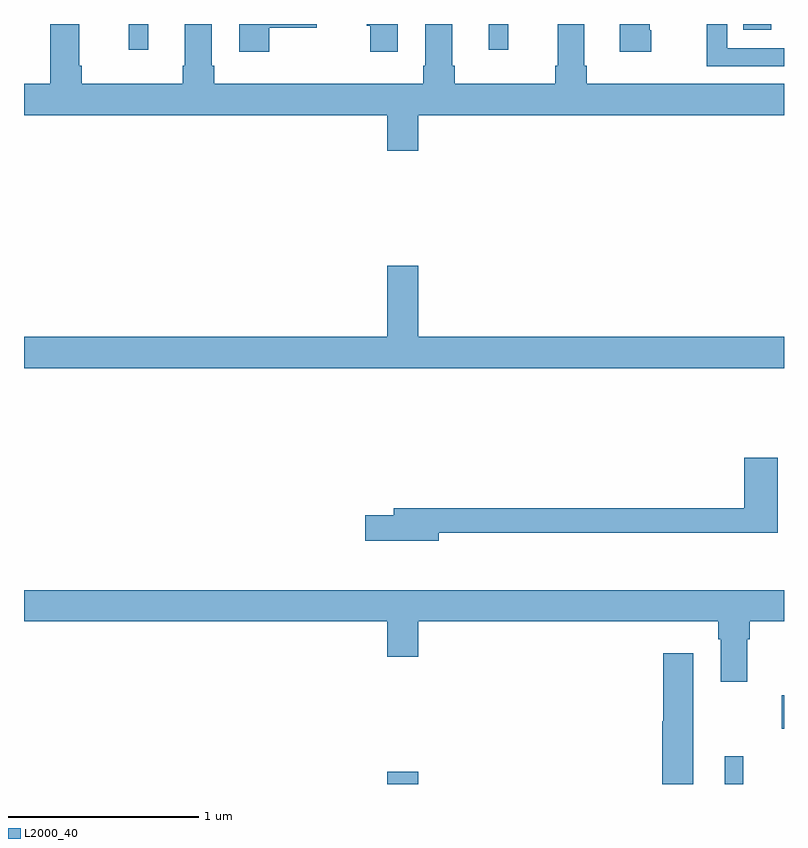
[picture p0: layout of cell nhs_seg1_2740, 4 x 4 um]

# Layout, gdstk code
import gdstk
lib = gdstk.Library(unit=1e-6, precision=1e-09)
def R(c, l, rs):  # rectangles x0, y0, x1, y1
    for r in rs: c.add(gdstk.rectangle(r[:2], r[2:], *l))
def P(c, l, *ps):  # polygons
    for p in ps: c.add(gdstk.Polygon(p, *l))
L2000_40 = (2000, 40)

nhs_seg1_2740 = lib.new_cell('nhs_seg1_2740')
R(nhs_seg1_2740, L2000_40, [(260.912,560.199,261.076,560.263), (262.688,560.199,262.785,560.344), (262.989,560.491,263,560.665), (259.552,564.063,259.654,564.199), (261.446,564.063,261.548,564.199), (262.786,564.168,262.932,564.199)])
P(nhs_seg1_2740, L2000_40, [(261.076,563.72),(263,563.72),(263,563.884),(261.962,563.884),(261.962,563.98),(261.949,563.98),(261.949,564.199),(261.809,564.199),(261.809,563.98),(261.797,563.98),(261.797,563.884),(261.266,563.884),(261.266,563.98),(261.253,563.98),(261.253,564.199),(261.113,564.199),(261.113,563.98),(261.101,563.98),(261.101,563.884),(260,563.884),(260,563.98),(259.987,563.98),(259.987,564.199),(259.847,564.199),(259.847,563.98),(259.835,563.98),(259.835,563.884),(259.304,563.884),(259.304,563.98),(259.291,563.98),(259.291,564.199),(259.139,564.199),(259.139,563.884),(259,563.884),(259,563.72),(260.912,563.72),(260.912,563.532),(261.076,563.532)],
  [(260.291,564.178),(260.542,564.178),(260.542,564.199),(260.132,564.199),(260.132,564.054),(260.291,564.054)],
  [(260.968,564.199),(260.804,564.199),(260.804,564.189),(260.822,564.189),(260.822,564.054),(260.968,564.054)],
  [(263,564.072),(262.701,564.072),(262.701,564.199),(262.593,564.199),(262.593,563.976),(263,563.976)],
  [(262.302,564.166),(262.294,564.166),(262.294,564.199),(262.136,564.199),(262.136,564.054),(262.302,564.054)],
  [(263,562.552),(261.076,562.552),(261.076,562.927),(260.912,562.927),(260.912,562.552),(259,562.552),(259,562.388),(263,562.388)],
  [(261.184,561.522),(262.968,561.522),(262.968,561.916),(262.79,561.916),(262.79,561.65),(260.945,561.65),(260.945,561.614),(260.796,561.614),(260.796,561.479),(261.184,561.479)],
  [(262.807,560.96),(262.82,560.96),(262.82,561.056),(263,561.056),(263,561.22),(259,561.22),(259,561.056),(260.912,561.056),(260.912,560.868),(261.076,560.868),(261.076,561.056),(262.655,561.056),(262.655,560.96),(262.667,560.96),(262.667,560.736),(262.807,560.736)],
  [(262.522,560.887),(262.364,560.887),(262.364,560.529),(262.358,560.529),(262.358,560.199),(262.522,560.199)])

lib.write_gds('nhs_seg1_2740.gds')
